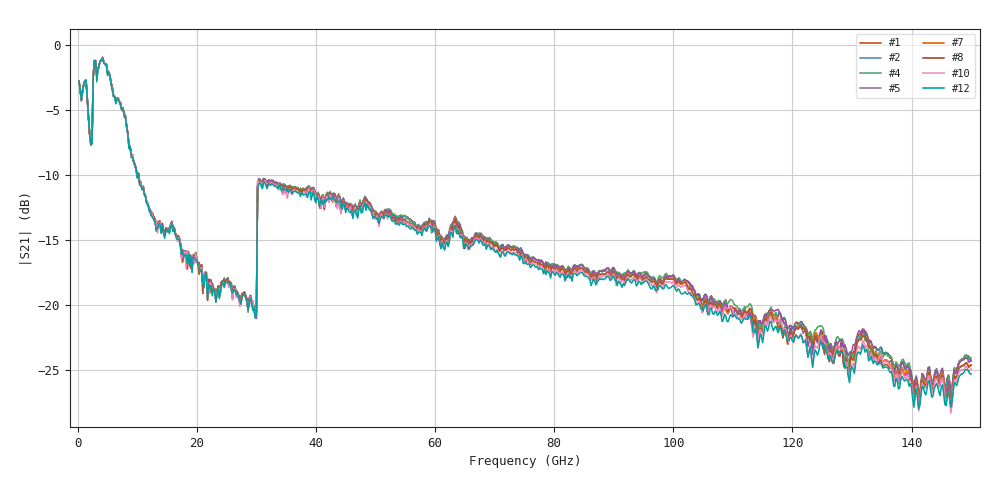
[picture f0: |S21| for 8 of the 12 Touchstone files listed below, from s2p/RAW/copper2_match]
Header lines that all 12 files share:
!  2-Port S-parameters saved by WinCal
! VAR PHYS_PORTS=1,2
! VAR ObjTypeName=DATASET
! VAR IndexType=Frequency
! VAR ChuckHeaterState=Unknown
! VAR ChuckTemp=NaN
! VAR ChuckTempUnits=Unknown
# Hz S RI R 50
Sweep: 200 MHz to 150 GHz
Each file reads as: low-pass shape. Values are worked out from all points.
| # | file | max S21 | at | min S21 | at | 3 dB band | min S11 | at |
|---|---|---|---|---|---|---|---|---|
| 1 | RAW_line_0_0mm_1.s2p | -0.91 dB | 4.2 GHz | -27.5 dB | 141.4 GHz | 2.6 GHz-6 GHz | -41.8 dB | 17.2 GHz |
| 2 | RAW_line_0_0mm_2.s2p | -0.93 dB | 4.2 GHz | -27.6 dB | 141.4 GHz | 2.6 GHz-6 GHz | -41.2 dB | 148 GHz |
| 3 | RAW_line_0_5mm_1.s2p | -0.95 dB | 4.2 GHz | -27.1 dB | 141.4 GHz | 2.6 GHz-6 GHz | -44.2 dB | 22.8 GHz |
| 4 | RAW_line_0_5mm_2.s2p | -0.94 dB | 4.2 GHz | -27.2 dB | 146.6 GHz | 2.6 GHz-6.2 GHz | -58.9 dB | 91 GHz |
| 5 | RAW_line_1_0mm_1.s2p | -0.94 dB | 4.2 GHz | -27.5 dB | 146.6 GHz | 2.6 GHz-6.2 GHz | -55.0 dB | 12.8 GHz |
| 6 | RAW_line_1_0mm_2.s2p | -0.94 dB | 4.2 GHz | -27.7 dB | 146.6 GHz | 2.6 GHz-6.2 GHz | -58.8 dB | 12.8 GHz |
| 7 | RAW_line_3_0mm_1.s2p | -1.03 dB | 4.2 GHz | -27.9 dB | 146.6 GHz | 2.6 GHz-6.2 GHz | -48.8 dB | 25.4 GHz |
| 8 | RAW_line_3_0mm_2.s2p | -1.02 dB | 4.2 GHz | -28.0 dB | 146.6 GHz | 2.6 GHz-6.2 GHz | -48.1 dB | 25.4 GHz |
| 9 | RAW_line_5_0mm_1.s2p | -1.05 dB | 4.2 GHz | -28.3 dB | 141.2 GHz | 2.6 GHz-6.2 GHz | -50.8 dB | 11.6 GHz |
| 10 | RAW_line_5_0mm_2.s2p | -1.06 dB | 4.2 GHz | -28.3 dB | 146.6 GHz | 2.6 GHz-6.2 GHz | -54.7 dB | 54.2 GHz |
| 11 | RAW_line_6_5mm_1.s2p | -1.08 dB | 4.2 GHz | -28.1 dB | 141.2 GHz | 2.6 GHz-6.2 GHz | -61.3 dB | 20 GHz |
| 12 | RAW_line_6_5mm_2.s2p | -1.05 dB | 4.2 GHz | -28.0 dB | 141.2 GHz | 2.6 GHz-6.2 GHz | -55.0 dB | 20 GHz |
